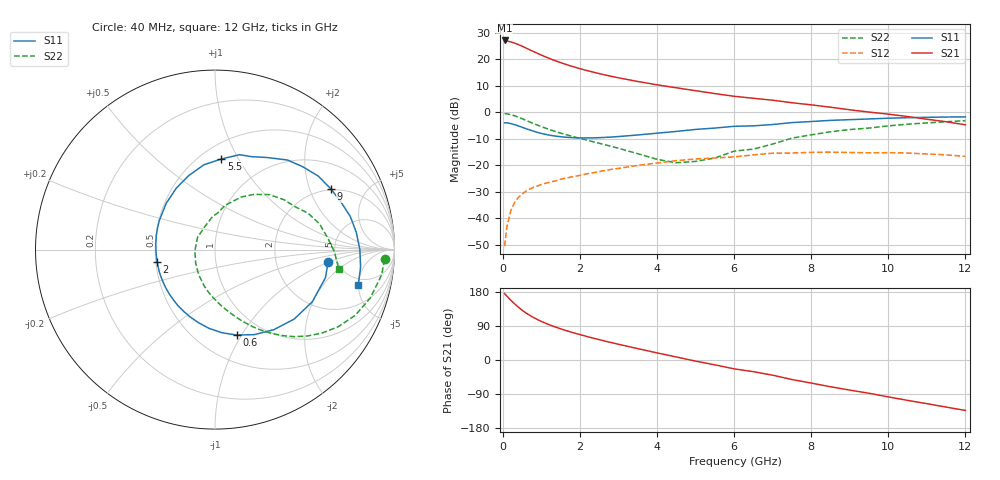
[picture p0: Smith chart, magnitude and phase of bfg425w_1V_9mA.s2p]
! Filename: 19bfg425.001
! BFG425W Field C1
! V1=8.506E-001V,V2=1.000E+000V, I1=1.302E-004A, I2=9.000E-003A
# GHz  S  MA  R 50
!  S11  S21  S12  S22
!Freq(GHz)  Mag  Ang  Mag  Ang  Mag  Ang  Mag  Ang
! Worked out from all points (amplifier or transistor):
!   44 points, 40 MHz to 12 GHz, reference 50 ohm
!   highest |S21| = 27.1 dB at 40 MHz (marker M1)
!   |S21| within 3 dB of that: start of sweep to 616.2 MHz
!   unconditionally stable (mu >= 1): 1.876 GHz to end of sweep
!   at 700 MHz: K = 0.52, MSG = 26.2 dB, |S12| = -28.9 dB
!   at 2.4 GHz: K = 1.11, MAG = 16.7 dB, |S12| = -22.6 dB
!   at 12 GHz: K = 1.40, MAG = 2.2 dB, |S12| = -16.6 dB
!   S11 on the Smith chart (normalised r, x): 40 MHz: 4.23, -0.98; 600 MHz: 0.76, -0.95; 2 GHz: 0.51, -0.08; 5.5 GHz: 0.63, +0.85; 9 GHz: 1.96, +2.82; 12 GHz: 4.09, -4.95
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0.04  0.634 -6.3  22.69 175.1  0.003 80.2  0.946 -3.3
0.1  0.635 -14.3  22.18 168.7  0.007 82.9  0.939 -8.6
0.2  0.615 -28.3  21.32 157.8  0.014 75.6  0.906 -17.3
0.3  0.587 -41.2  20.25 148.3  0.02 69.6  0.863 -25.1
0.4  0.554 -53.6  18.95 139.2  0.025 64.5  0.81 -32.1
0.5  0.522 -65.2  17.62 130.9  0.029 60.1  0.756 -38.0
0.6  0.491 -75.7  16.27 123.8  0.033 56.5  0.704 -43.2
0.8  0.44 -94.3  13.9 111.6  0.039 50.9  0.611 -51.7
0.9  0.418 -102.5  12.89 106.3  0.041 49.0  0.571 -55.3
1  0.4 -110.2  11.96 101.5  0.044 47.4  0.536 -58.4
1.2  0.373 -124.1  10.41 93.0  0.048 44.7  0.476 -64.1
1.6  0.341 -148.1  8.164 78.8  0.057 40.9  0.386 -73.5
2  0.33 -167.9  6.655 66.9  0.065 37.6  0.323 -82.3
2.2  0.329 -176.8  6.082 61.4  0.07 35.8  0.296 -86.7
3  0.35 152.4  4.475 41.4  0.088 27.6  0.21 -106.9
4.5  0.438 109.4  2.902 7.9  0.123 7.8  0.112 -177.6
5.5  0.506 86.0  2.257 -12.9  0.138 -7.0  0.138 115.5
6.5  0.557 68.3  1.843 -30.8  0.158 -18.7  0.203 86.1
8.5  0.706 35.5  1.251 -70.7  0.178 -54.2  0.431 45.3
9  0.729 27.6  1.118 -79.4  0.175 -62.0  0.474 35.9
10.5  0.793 7.0  0.835 -106.6  0.171 -87.6  0.599 14.0
12  0.822 -13.8  0.583 -133.2  0.148 -115.9  0.697 -8.7
